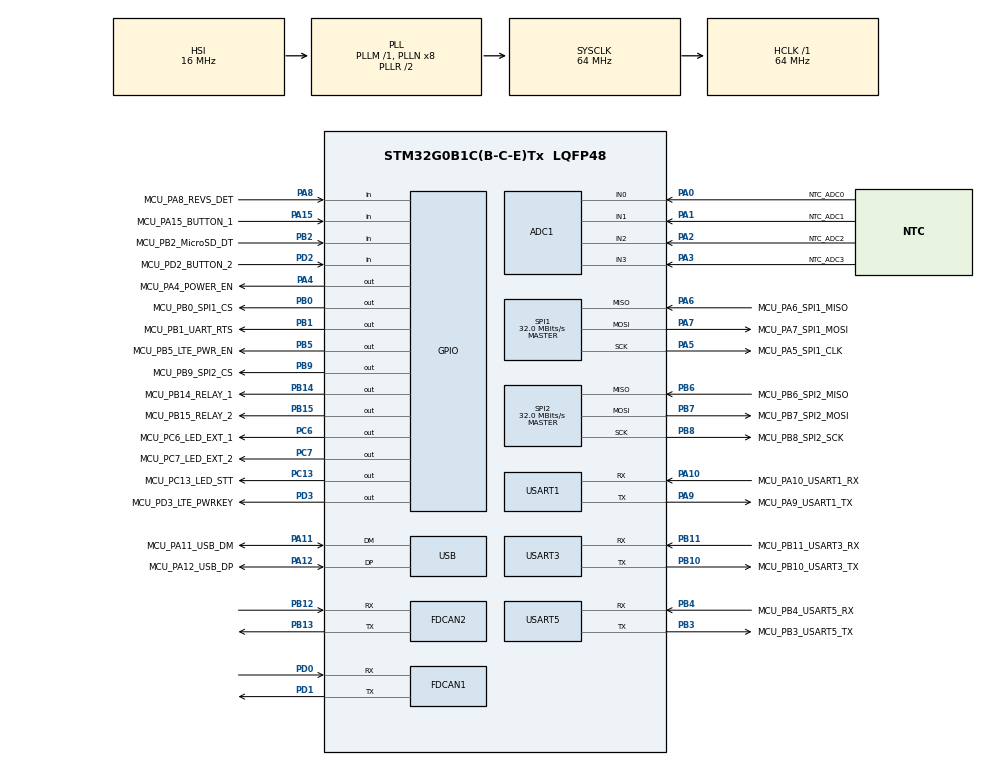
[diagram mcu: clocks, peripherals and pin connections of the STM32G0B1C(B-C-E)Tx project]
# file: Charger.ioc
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ADC1.Channel-0\#ChannelRegularConversion=ADC_CHANNEL_0
ADC1.NbrOfConversionFlag=1
ADC1.Rank-0\#ChannelRegularConversion=1
ADC1.SamplingTime-0\#ChannelRegularConversion=ADC_SAMPLINGTIME_COMMON_1
ADC1.SelectedChannel=ADC_CHANNEL_0|ADC_CHANNEL_1|ADC_CHANNEL_2|ADC_CHANNEL_3
ADC1.master=1
Dma.ADC1.0.Direction=DMA_PERIPH_TO_MEMORY
Dma.ADC1.0.EventEnable=DISABLE
Dma.ADC1.0.Instance=DMA1_Channel1
Dma.ADC1.0.MemDataAlignment=DMA_MDATAALIGN_HALFWORD
Dma.ADC1.0.MemInc=DMA_MINC_ENABLE
Dma.ADC1.0.Mode=DMA_NORMAL
Dma.ADC1.0.PeriphDataAlignment=DMA_PDATAALIGN_HALFWORD
Dma.ADC1.0.PeriphInc=DMA_PINC_DISABLE
Dma.ADC1.0.Polarity=HAL_DMAMUX_REQ_GEN_RISING
Dma.ADC1.0.Priority=DMA_PRIORITY_LOW
Dma.ADC1.0.RequestNumber=1
Dma.ADC1.0.SignalID=NONE
Dma.ADC1.0.SyncEnable=DISABLE
Dma.ADC1.0.SyncPolarity=HAL_DMAMUX_SYNC_NO_EVENT
Dma.ADC1.0.SyncRequestNumber=1
Dma.ADC1.0.SyncSignalID=NONE
Dma.Request0=ADC1
Dma.Request1=USART1_RX
Dma.Request2=USART3_RX
Dma.Request3=USART5_RX
Dma.Request4=TIM6_UP
Dma.TIM6_UP.4.Direction=DMA_PERIPH_TO_MEMORY
Dma.TIM6_UP.4.EventEnable=DISABLE
Dma.TIM6_UP.4.Instance=DMA1_Channel5
Dma.TIM6_UP.4.MemDataAlignment=DMA_MDATAALIGN_HALFWORD
Dma.TIM6_UP.4.MemInc=DMA_MINC_ENABLE
Dma.TIM6_UP.4.Mode=DMA_NORMAL
Dma.TIM6_UP.4.PeriphDataAlignment=DMA_PDATAALIGN_HALFWORD
Dma.TIM6_UP.4.PeriphInc=DMA_PINC_DISABLE
Dma.TIM6_UP.4.Polarity=HAL_DMAMUX_REQ_GEN_RISING
Dma.TIM6_UP.4.Priority=DMA_PRIORITY_LOW
Dma.TIM6_UP.4.RequestNumber=1
Dma.TIM6_UP.4.SignalID=NONE
Dma.TIM6_UP.4.SyncEnable=DISABLE
Dma.TIM6_UP.4.SyncPolarity=HAL_DMAMUX_SYNC_NO_EVENT
Dma.TIM6_UP.4.SyncRequestNumber=1
Dma.TIM6_UP.4.SyncSignalID=NONE
Dma.USART1_RX.1.Direction=DMA_PERIPH_TO_MEMORY
Dma.USART1_RX.1.EventEnable=DISABLE
Dma.USART1_RX.1.Instance=DMA1_Channel2
Dma.USART1_RX.1.MemDataAlignment=DMA_MDATAALIGN_BYTE
Dma.USART1_RX.1.MemInc=DMA_MINC_ENABLE
Dma.USART1_RX.1.Mode=DMA_NORMAL
Dma.USART1_RX.1.PeriphDataAlignment=DMA_PDATAALIGN_BYTE
Dma.USART1_RX.1.PeriphInc=DMA_PINC_DISABLE
Dma.USART1_RX.1.Polarity=HAL_DMAMUX_REQ_GEN_RISING
Dma.USART1_RX.1.Priority=DMA_PRIORITY_LOW
Dma.USART1_RX.1.RequestNumber=1
Dma.USART1_RX.1.SignalID=NONE
Dma.USART1_RX.1.SyncEnable=DISABLE
Dma.USART1_RX.1.SyncPolarity=HAL_DMAMUX_SYNC_NO_EVENT
Dma.USART1_RX.1.SyncRequestNumber=1
Dma.USART1_RX.1.SyncSignalID=NONE
Dma.USART3_RX.2.Direction=DMA_PERIPH_TO_MEMORY
Dma.USART3_RX.2.EventEnable=DISABLE
Dma.USART3_RX.2.Instance=DMA1_Channel3
Dma.USART3_RX.2.MemDataAlignment=DMA_MDATAALIGN_BYTE
Dma.USART3_RX.2.MemInc=DMA_MINC_ENABLE
Dma.USART3_RX.2.Mode=DMA_NORMAL
Dma.USART3_RX.2.PeriphDataAlignment=DMA_PDATAALIGN_BYTE
Dma.USART3_RX.2.PeriphInc=DMA_PINC_DISABLE
Dma.USART3_RX.2.Polarity=HAL_DMAMUX_REQ_GEN_RISING
Dma.USART3_RX.2.Priority=DMA_PRIORITY_LOW
Dma.USART3_RX.2.RequestNumber=1
Dma.USART3_RX.2.SignalID=NONE
Dma.USART3_RX.2.SyncEnable=DISABLE
Dma.USART3_RX.2.SyncPolarity=HAL_DMAMUX_SYNC_NO_EVENT
Dma.USART3_RX.2.SyncRequestNumber=1
Dma.USART3_RX.2.SyncSignalID=NONE
Dma.USART5_RX.3.Direction=DMA_PERIPH_TO_MEMORY
Dma.USART5_RX.3.EventEnable=DISABLE
Dma.USART5_RX.3.Instance=DMA1_Channel4
Dma.USART5_RX.3.MemDataAlignment=DMA_MDATAALIGN_BYTE
Dma.USART5_RX.3.MemInc=DMA_MINC_ENABLE
Dma.USART5_RX.3.Mode=DMA_NORMAL
Dma.USART5_RX.3.PeriphDataAlignment=DMA_PDATAALIGN_BYTE
Dma.USART5_RX.3.PeriphInc=DMA_PINC_DISABLE
Dma.USART5_RX.3.Polarity=HAL_DMAMUX_REQ_GEN_RISING
Dma.USART5_RX.3.Priority=DMA_PRIORITY_LOW
Dma.USART5_RX.3.RequestNumber=1
Dma.USART5_RX.3.SignalID=NONE
Dma.USART5_RX.3.SyncEnable=DISABLE
Dma.USART5_RX.3.SyncPolarity=HAL_DMAMUX_SYNC_NO_EVENT
Dma.USART5_RX.3.SyncRequestNumber=1
Dma.USART5_RX.3.SyncSignalID=NONE
FDCAN1.CalculateBaudRateNominal=125000
FDCAN1.CalculateTimeBitNominal=8000
FDCAN1.CalculateTimeQuantumNominal=500.0
FDCAN1.ExtFiltersNbr=1
FDCAN1.NominalPrescaler=32
FDCAN1.NominalTimeSeg1=12
FDCAN1.AutoRetransmission=ENABLE
FDCAN1.NominalTimeSeg2=3
FDCAN2.CalculateBaudRateNominal=250000
FDCAN2.CalculateTimeBitNominal=4000
FDCAN2.CalculateTimeQuantumNominal=250.0
FDCAN2.ExtFiltersNbr=1
FDCAN2.StdFiltersNbr=1
FDCAN2.NominalPrescaler=16
FDCAN2.NominalTimeSeg1=12
FDCAN2.AutoRetransmission=ENABLE
FDCAN2.NominalTimeSeg2=3
Mcu.Family=STM32G0
Mcu.Name=STM32G0B1C(B-C-E)Tx
Mcu.Package=LQFP48
NVIC.ADC1_COMP_IRQn=true\:0\:0\:false\:false\:true\:true\:true\:true
NVIC.DMA1_Ch4_7_DMA2_Ch1_5_DMAMUX1_OVR_IRQn=true\:0\:0\:false\:false\:true\:false\:true\:true
NVIC.DMA1_Channel1_IRQn=true\:0\:0\:false\:false\:true\:false\:true\:true
NVIC.DMA1_Channel2_3_IRQn=true\:0\:0\:false\:false\:true\:false\:true\:true
NVIC.TIM16_FDCAN_IT0_IRQn=true\:0\:0\:false\:false\:true\:true\:true\:true
NVIC.TIM17_FDCAN_IT1_IRQn=true\:0\:0\:false\:false\:true\:true\:true\:true
NVIC.TIM6_DAC_LPTIM1_IRQn=true\:0\:0\:false\:false\:true\:true\:true\:true
NVIC.TIM7_LPTIM2_IRQn=true\:0\:0\:false\:false\:true\:true\:true\:true
NVIC.USART1_IRQn=true\:0\:0\:false\:false\:true\:true\:true\:true
NVIC.USART3_4_5_6_LPUART1_IRQn=true\:0\:0\:false\:false\:true\:true\:true\:true
NVIC.USB_UCPD1_2_IRQn=true\:0\:0\:false\:false\:true\:true\:true\:true
PA0.GPIO_Label=NTC_ADC0
PA0.Mode=IN0
PA0.Signal=ADC1_IN0
PA1.GPIO_Label=NTC_ADC1
PA1.Mode=IN1
PA1.Signal=ADC1_IN1
PA10.GPIO_Label=MCU_PA10_USART1_RX
PA10.Mode=Asynchronous
PA10.Signal=USART1_RX
PA11\ [PA9].GPIO_Label=MCU_PA11_USB_DM
PA11\ [PA9].Mode=Device
PA11\ [PA9].Signal=USB_DM
PA12\ [PA10].GPIO_Label=MCU_PA12_USB_DP
PA12\ [PA10].Mode=Device
PA12\ [PA10].Signal=USB_DP
PA13.Mode=Serial_Wire
PA13.Signal=SYS_SWDIO
PA14-BOOT0.Mode=Serial_Wire
PA14-BOOT0.Signal=SYS_SWCLK
PA15.GPIO_Label=MCU_PA15_BUTTON_1
PA15.Signal=GPIO_Input
PA2.GPIO_Label=NTC_ADC2
PA2.Mode=IN2
PA2.Signal=ADC1_IN2
PA3.GPIO_Label=NTC_ADC3
PA3.Mode=IN3
PA3.Signal=ADC1_IN3
PA4.GPIO_Label=MCU_PA4_POWER_EN
PA4.Signal=GPIO_Output
PA5.GPIO_Label=MCU_PA5_SPI1_CLK
PA5.Mode=Full_Duplex_Master
PA5.Signal=SPI1_SCK
PA6.GPIO_Label=MCU_PA6_SPI1_MISO
PA6.Mode=Full_Duplex_Master
PA6.Signal=SPI1_MISO
PA7.GPIO_Label=MCU_PA7_SPI1_MOSI
PA7.Mode=Full_Duplex_Master
PA7.Signal=SPI1_MOSI
PA8.GPIO_Label=MCU_PA8_REVS_DET
PA8.Signal=GPIO_Input
PA9.GPIO_Label=MCU_PA9_USART1_TX
PA9.Mode=Asynchronous
PA9.Signal=USART1_TX
PB0.GPIO_Label=MCU_PB0_SPI1_CS
PB0.PinState=GPIO_PIN_SET
PB0.Signal=GPIO_Output
PB1.GPIO_Label=MCU_PB1_UART_RTS
PB1.PinState=GPIO_PIN_RESET
PB1.Signal=GPIO_Output
PB10.GPIO_Label=MCU_PB10_USART3_TX
PB10.Mode=Asynchronous
PB10.Signal=USART3_TX
PB11.GPIO_Label=MCU_PB11_USART3_RX
PB11.Mode=Asynchronous
PB11.Signal=USART3_RX
PB12.Mode=FDCAN_Activate
PB12.Signal=FDCAN2_RX
PB13.Mode=FDCAN_Activate
PB13.Signal=FDCAN2_TX
PB14.GPIO_Label=MCU_PB14_RELAY_1
PB14.Signal=GPIO_Output
PB15.GPIO_Label=MCU_PB15_RELAY_2
PB15.Signal=GPIO_Output
PB2.GPIO_Label=MCU_PB2_MicroSD_DT
PB2.GPIO_PuPd=GPIO_PULLUP
PB2.Signal=GPIO_Input
PB3.GPIO_Label=MCU_PB3_USART5_TX
PB3.Mode=Asynchronous
PB3.Signal=USART5_TX
PB4.GPIO_Label=MCU_PB4_USART5_RX
PB4.Mode=Asynchronous
PB4.Signal=USART5_RX
PB5.GPIO_Label=MCU_PB5_LTE_PWR_EN
PB5.Signal=GPIO_Output
PB6.GPIO_Label=MCU_PB6_SPI2_MISO
PB6.Mode=Full_Duplex_Master
PB6.Signal=SPI2_MISO
PB7.GPIO_Label=MCU_PB7_SPI2_MOSI
PB7.Mode=Full_Duplex_Master
PB7.Signal=SPI2_MOSI
PB8.GPIO_Label=MCU_PB8_SPI2_SCK
PB8.Mode=Full_Duplex_Master
PB8.Signal=SPI2_SCK
PB9.GPIO_Label=MCU_PB9_SPI2_CS
PB9.Signal=GPIO_Output
PC13.GPIO_Label=MCU_PC13_LED_STT
PC13.Signal=GPIO_Output
PC14-OSC32_IN\ (PC14).Mode=LSE-External-Oscillator
PC14-OSC32_IN\ (PC14).Signal=RCC_OSC32_IN
PC15-OSC32_OUT\ (PC15).Mode=LSE-External-Oscillator
PC15-OSC32_OUT\ (PC15).Signal=RCC_OSC32_OUT
PC6.GPIO_Label=MCU_PC6_LED_EXT_1
PC6.Signal=GPIO_Output
PC7.GPIO_Label=MCU_PC7_LED_EXT_2
PC7.Signal=GPIO_Output
PD0.Mode=FDCAN_Activate
PD0.Signal=FDCAN1_RX
PD1.Mode=FDCAN_Activate
PD1.Signal=FDCAN1_TX
PD2.GPIO_Label=MCU_PD2_BUTTON_2
PD2.Signal=GPIO_Input
PD3.GPIO_Label=MCU_PD3_LTE_PWRKEY
PD3.Signal=GPIO_Output
PF0-OSC_IN\ (PF0).Mode=HSE-External-Oscillator
PF0-OSC_IN\ (PF0).Signal=RCC_OSC_IN
PF1-OSC_OUT\ (PF1).Mode=HSE-External-Oscillator
PF1-OSC_OUT\ (PF1).Signal=RCC_OSC_OUT
ProjectManager.HeapSize=0x200
ProjectManager.StackSize=0x400
ProjectManager.TargetToolchain=CMake
IWDG.Prescaler=IWDG_PRESCALER_32
IWDG.Reload=1000
IWDG.Window=4095
RCC.ADCFreq_Value=64000000
RCC.AHBFreq_Value=64000000
RCC.CortexFreq_Value=64000000
RCC.EXTERNAL_CLOCK_VALUE=48000
RCC.HCLKFreq_Value=64000000
RCC.HSE_VALUE=8000000
RCC.HSI48_VALUE=48000000
RCC.HSI_VALUE=16000000
RCC.SYSCLKFreq_VALUE=64000000
RCC.SYSCLKSource=RCC_SYSCLKSOURCE_PLLCLK
RCC.USBFreq_Value=48000000
RCC.VCOOutputFreq_Value=128000000
SPI1.CalculateBaudRate=32.0 MBits/s
SPI1.Direction=SPI_DIRECTION_2LINES
SPI1.Mode=SPI_MODE_MASTER
SPI1.VirtualType=VM_MASTER
SPI2.CalculateBaudRate=32.0 MBits/s
SPI2.Direction=SPI_DIRECTION_2LINES
SPI2.Mode=SPI_MODE_MASTER
SPI2.VirtualType=VM_MASTER
USART1.VirtualMode-Asynchronous=VM_ASYNC
USART3.SwapParam=ADVFEATURE_SWAP_ENABLE
USART3.VirtualMode-Asynchronous=VM_ASYNC
USART5.VirtualMode-Asynchronous=VM_ASYNC
USB_DEVICE.CLASS_NAME_FS=CDC
USB_DEVICE.VirtualMode=Cdc
USB_DEVICE.VirtualModeFS=Cdc_FS
VP_SYS_VS_DBSignals.Mode=DisableDeadBatterySignals
VP_TIM6_VS_ClockSourceINT.Mode=Enable_Timer
VP_TIM7_VS_ClockSourceINT.Mode=Enable_Timer
VP_USB_DEVICE_VS_USB_DEVICE_CDC_FS.Mode=CDC_FS
board=custom

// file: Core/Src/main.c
/* USER CODE BEGIN Header */
/**
  ******************************************************************************
  * @file           : main.c
  * @brief          : Main program body
  ******************************************************************************
  * @attention
  *
  * Copyright (c) 2026 STMicroelectronics.
  * All rights reserved.
  *
  * This software is licensed under terms that can be found in the LICENSE file
  * in the root directory of this software component.
  * If no LICENSE file comes with this software, it is provided AS-IS.
  *
  ******************************************************************************
  */
/* USER CODE END Header */
#include "main.h"
#include "adc.h"
#include "dma.h"
#include "fdcan.h"
#include "spi.h"
#include "tim.h"
#include "usart.h"
#include "usb_device.h"
#include "gpio.h"

/* USER CODE BEGIN Includes */
#include "app_main.h"
#include "iwdg.h"
#include "bsp_failsafe.h"
/* USER CODE END Includes */

void SystemClock_Config(void);

int main(void)
{

  /* MCU Configuration--------------------------------------------------------*/

  /* Reset of all peripherals, Initializes the Flash interface and the Systick. */
  HAL_Init();

  /* USER CODE BEGIN Init */
  SCB->VTOR = 0x08002000U;
  /* EARLY DIAGNOSTIC: Blink PC6 (RUN LED) immediately after HAL_Init
   * to confirm MCU is alive. If this LED never toggles, the issue is
   * in SystemClock_Config or startup, not in App_Init. */
  __HAL_RCC_GPIOC_CLK_ENABLE();
  GPIOC->MODER &= ~(3u << (6 * 2));
  GPIOC->MODER |=  (1u << (6 * 2));   /* PC6 output */
  GPIOC->BSRR = (1u << 6);            /* PC6 HIGH */
  for(volatile uint32_t i = 0; i < 500000; i++); /* ~100ms delay */
  GPIOC->BSRR = (1u << (6 + 16));     /* PC6 LOW */
  for(volatile uint32_t i = 0; i < 500000; i++);

  /* USER CODE END Init */

  /* Configure the system clock */
  SystemClock_Config();

  /* Initialize all configured peripherals */
  MX_GPIO_Init();
  MX_DMA_Init();
  MX_ADC1_Init();
  MX_SPI1_Init();
  MX_USART1_UART_Init();
  /* EARLY DIAGNOSTIC: Send immediate print via UART1 to confirm USART1 works
   * BEFORE any FDCAN or USB init. If this appears, boot is alive up to here. */
  {
      const char *early_msg = "\r\n[EARLY] UART1 alive - booting...\r\n";
      HAL_UART_Transmit(&huart1, (uint8_t *)early_msg, (uint16_t)35, 100);
  }
  MX_FDCAN1_Init();
  MX_FDCAN2_Init();
  /* EARLY DIAGNOSTIC: Confirm FDCAN inits passed without Error_Handler */
  {
      const char *fdcan_msg = "[EARLY] FDCAN1+2 init OK\r\n";
      HAL_UART_Transmit(&huart1, (uint8_t *)fdcan_msg, (uint16_t)27, 100);
  }
  MX_SPI2_Init();
  MX_USART3_UART_Init();
  MX_USART5_UART_Init();
  MX_TIM6_Init();
  MX_TIM7_Init();
  /* EARLY DIAGNOSTIC: Confirm we reached USB init */
  {
      const char *pre_usb = "[EARLY] About to init USB...\r\n";
      HAL_UART_Transmit(&huart1, (uint8_t *)pre_usb, (uint16_t)30, 100);
  }
  MX_USB_Device_Init();
  /* EARLY DIAGNOSTIC: Confirm USB init passed */
  {
      const char *post_usb = "[EARLY] USB init done\r\n";
      HAL_UART_Transmit(&huart1, (uint8_t *)post_usb, (uint16_t)23, 100);
  }
  /* USER CODE BEGIN 2 */
  App_Init();

  /* IWDG must start AFTER App_Init() to avoid reset during boot sequence */
  MX_IWDG_Init();

  /* USER CODE END 2 */

  /* Infinite loop */
  while (1)
  {

    /* USER CODE BEGIN 3 */
    App_Loop();
  }
  /* USER CODE END 3 */
}

void SystemClock_Config(void)
{
  RCC_OscInitTypeDef RCC_OscInitStruct = {0};
  RCC_ClkInitTypeDef RCC_ClkInitStruct = {0};

  /** Configure the main internal regulator output voltage
  */
  HAL_PWREx_ControlVoltageScaling(PWR_REGULATOR_VOLTAGE_SCALE1);

  /** Initializes the RCC Oscillators according to the specified parameters
  * in the RCC_OscInitTypeDef structure.
  */
  RCC_OscInitStruct.OscillatorType = RCC_OSCILLATORTYPE_HSI|RCC_OSCILLATORTYPE_HSI48;
  RCC_OscInitStruct.HSIState = RCC_HSI_ON;
  RCC_OscInitStruct.HSI48State = RCC_HSI48_ON;
  RCC_OscInitStruct.HSIDiv = RCC_HSI_DIV1;
  RCC_OscInitStruct.HSICalibrationValue = RCC_HSICALIBRATION_DEFAULT;
  RCC_OscInitStruct.PLL.PLLState = RCC_PLL_ON;
  RCC_OscInitStruct.PLL.PLLSource = RCC_PLLSOURCE_HSI;
  RCC_OscInitStruct.PLL.PLLM = RCC_PLLM_DIV1;
  RCC_OscInitStruct.PLL.PLLN = 8;
  RCC_OscInitStruct.PLL.PLLP = RCC_PLLP_DIV2;
  RCC_OscInitStruct.PLL.PLLQ = RCC_PLLQ_DIV2;
  RCC_OscInitStruct.PLL.PLLR = RCC_PLLR_DIV2;
  if (HAL_RCC_OscConfig(&RCC_OscInitStruct) != HAL_OK)
  {
    Error_Handler();
  }

  /** Initializes the CPU, AHB and APB buses clocks
  */
  RCC_ClkInitStruct.ClockType = RCC_CLOCKTYPE_HCLK|RCC_CLOCKTYPE_SYSCLK
                              |RCC_CLOCKTYPE_PCLK1;
  RCC_ClkInitStruct.SYSCLKSource = RCC_SYSCLKSOURCE_PLLCLK;
  RCC_ClkInitStruct.AHBCLKDivider = RCC_SYSCLK_DIV1;
  RCC_ClkInitStruct.APB1CLKDivider = RCC_HCLK_DIV1;

  if (HAL_RCC_ClockConfig(&RCC_ClkInitStruct, FLASH_LATENCY_2) != HAL_OK)
  {
    Error_Handler();
  }
}

void Error_Handler(void)
{
  /* USER CODE BEGIN Error_Handler_Debug */
  Safety_Shutdown();

  /* Khởi tạo lại UART1 thủ công để in lỗi nếu cần */
  __HAL_RCC_USART1_CLK_ENABLE();
  __HAL_RCC_GPIOA_CLK_ENABLE();
  GPIO_InitTypeDef GPIO_InitStruct = {0};
  GPIO_InitStruct.Pin = GPIO_PIN_9;
  GPIO_InitStruct.Mode = GPIO_MODE_AF_PP;
  GPIO_InitStruct.Speed = GPIO_SPEED_FREQ_LOW;
  GPIO_InitStruct.Alternate = GPIO_AF1_USART1;
  HAL_GPIO_Init(GPIOA, &GPIO_InitStruct);

  USART1->CR1 = USART_CR1_TE | USART_CR1_UE;
  USART1->BRR = (SystemCoreClock / 115200);

  const char *msg = "\r\n[CRASH] Error_Handler() CALLED!\r\n";
  for(int i=0; msg[i] != '\0'; i++) {
      while((USART1->ISR & USART_ISR_TXE_TXFNF) == 0) {}
      USART1->TDR = msg[i];
  }

  /* User can add his own implementation to report the HAL error return state */
  __disable_irq();
  while (1)
  {
  }
  /* USER CODE END Error_Handler_Debug */
}
